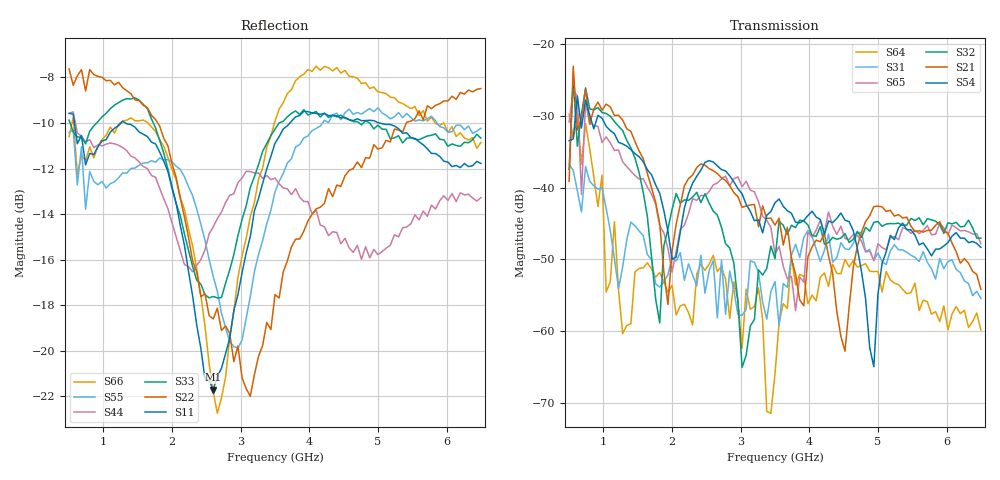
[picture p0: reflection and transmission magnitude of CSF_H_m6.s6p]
!Keysight Technologies,M9804A,MY58100912,A.14.10.03
!Date: Thursday, April 27, 2023 10:28:33
!Correction: S11(C  6-Port  )
!S12(C  6-Port  )
!S13(C  6-Port  )
!S14(C  6-Port  )
!S15(C  6-Port  )
!S16(C  6-Port  )
!S21(C  6-Port  )
!S22(C  6-Port  )
!S23(C  6-Port  )
!S24(C  6-Port  )
!S25(C  6-Port  )
!S26(C  6-Port  )
!S31(C  6-Port  )
!S32(C  6-Port  )
!S33(C  6-Port  )
!S34(C  6-Port  )
!S35(C  6-Port  )
!S36(C  6-Port  )
!S41(C  6-Port  )
!S42(C  6-Port  )
!S43(C  6-Port  )
!S44(C  6-Port  )
!S45(C  6-Port  )
!S46(C  6-Port  )
!S51(C  6-Port  )
!S52(C  6-Port  )
!S53(C  6-Port  )
!S54(C  6-Port  )
!S55(C  6-Port  )
!S56(C  6-Port  )
!S61(C  6-Port  )
!S62(C  6-Port  )
!S63(C  6-Port  )
!S64(C  6-Port  )
!S65(C  6-Port  )
!S66(C  6-Port  )
!S6P File: Measurement: :
# Hz S  RI  R 50
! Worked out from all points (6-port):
!   101 points, 500 MHz to 6.5 GHz, reference 50 ohm
!   strongest paths, dB at 500 MHz, 2 GHz, 3.5 GHz, 5 GHz, 6.5 GHz:
!     S54: -33.5, -50.0, -42.1, -54.9, -48.3
!     S21: -39.1, -48.8, -45.2, -42.6, -54.2
!     S32: -37.5, -43.0, -49.9, -44.7, -47.1
!     S65: -30.9, -51.8, -49.3, -47.8, -47.8
!     S31: -36.8, -49.7, -53.1, -49.1, -55.4
!     S64: -29.8, -53.6, -65.9, -51.7, -59.8
!   lowest |S11| = -21.7 dB at 2.6 GHz (marker M1), VSWR 1.18, Z = 42.7 + j2.03 ohm
!   |S11| at or under -10 dB: 577.7 MHz to 1.258 GHz (679.9 MHz wide, 74.1 % of centre); 1.319 GHz to 3.717 GHz (2.398 GHz wide, 95.2 % of centre); 5.019 GHz to end of sweep
